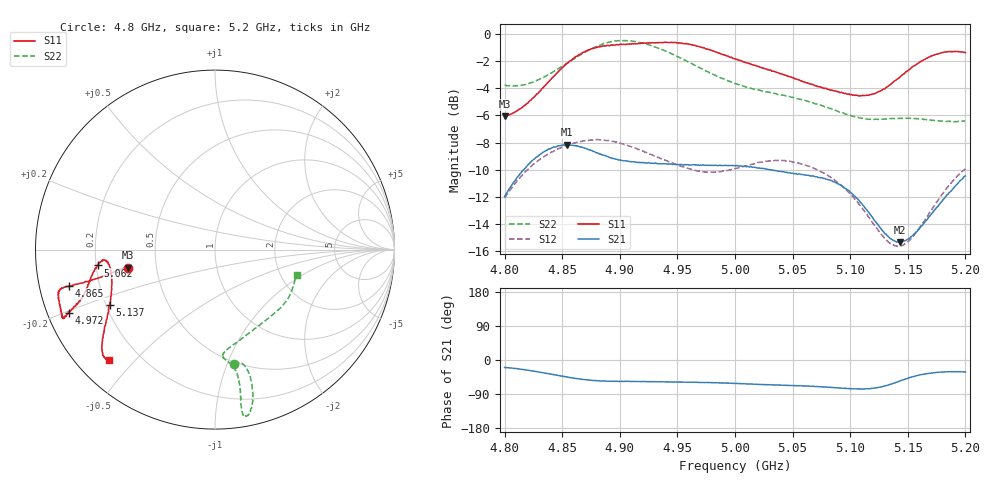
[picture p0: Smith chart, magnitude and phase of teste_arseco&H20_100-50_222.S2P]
! Network Analyzer HP8722D
! Hewlett-Packard
! Data name: Linha & Wilkinson
! Saver's name: Rodrigo Anjos
! Comments: Teste da utilização de aquisição
! continua pelo VNA HP8722D
! Time and date: 6/5/2025 14:25
!  Frequency  S11  S21  S12  S22
# HZ  S  MA R 50
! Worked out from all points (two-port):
!   401 points, 4.8 GHz to 5.2 GHz, reference 50 ohm
!   highest |S21| = -8.16 dB at 4.854 GHz (marker M1); lowest = -15.3 dB at 5.143 GHz (marker M2)
!   |S21| within 3 dB of the highest: 4.806 GHz to 5.092 GHz (286.4 MHz wide, 5.79 % of centre); 5.191528 GHz to end of sweep
!   lowest |S11| = -6.1 dB at 4.8 GHz (marker M3), VSWR 2.97, Z = 17 - j4.56 ohm
!   |S11| at or under -10 dB: nowhere
!   |S22| runs from -6.5 to -0.5 dB; largest |S21 - S12| = 0.62
!   S11 on the Smith chart (normalised r, x): 4.8 GHz: 0.34, -0.09; 4.865 GHz: 0.09, -0.12; 4.972 GHz: 0.06, -0.21; 5.062 GHz: 0.21, -0.06; 5.137 GHz: 0.22, -0.23; 5.2 GHz: 0.09, -0.42
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4.8e9  0.4967 -168.2  0.2522 -19.7  0.2492 -141.0  0.6481 -80.4
4.826e9  0.588 -167.3  0.3471 -29.9  0.3334 -144.7  0.6682 -75.6
4.854e9  0.7772 -166.0  0.3908 -45.1  0.3887 -149.9  0.7791 -74.7
4.865e9  0.8382 -166.1  0.3845 -50.0  0.4007 -151.8  0.8342 -75.3
4.867e9  0.849 -166.0  0.3836 -50.9  0.4022 -152.1  0.8433 -75.5
4.883e9  0.8966 -165.2  0.3614 -55.2  0.4077 -154.8  0.9089 -77.3
4.9e9  0.9135 -162.8  0.3434 -56.4  0.3963 -156.6  0.943 -79.1
4.934e9  0.9279 -156.7  0.333 -57.6  0.3513 -155.7  0.8825 -80.5
4.972e9  0.8886 -156.7  0.3295 -59.0  0.3115 -146.3  0.7411 -79.8
5e9  0.8101 -159.1  0.3277 -61.9  0.3195 -137.3  0.6565 -81.3
5.036e9  0.7214 -165.7  0.3137 -66.0  0.3421 -134.5  0.6023 -85.7
5.062e9  0.6597 -172.3  0.3022 -68.6  0.3278 -136.4  0.5671 -83.8
5.067e9  0.6518 -173.0  0.3004 -69.2  0.3225 -136.8  0.5581 -82.6
5.086e9  0.6169 -174.5  0.2854 -73.0  0.2912 -138.5  0.5245 -75.3
5.102e9  0.5956 -171.8  0.2573 -75.9  0.2529 -138.8  0.4976 -66.0
5.116e9  0.5941 -165.5  0.2205 -75.9  0.2121 -135.5  0.4852 -55.8
5.134e9  0.6464 -154.2  0.178 -65.1  0.1703 -120.6  0.4874 -43.3
5.137e9  0.6618 -152.5  0.1746 -62.1  0.1678 -116.8  0.4886 -41.4
5.143e9  0.6924 -149.3  0.1713 -55.7  0.1661 -108.9  0.4889 -38.1
5.154e9  0.757 -144.4  0.1812 -44.3  0.1792 -95.0  0.489 -32.4
5.174e9  0.8398 -138.5  0.2269 -33.0  0.2369 -80.3  0.4793 -23.9
5.2e9  0.8531 -133.7  0.3004 -31.5  0.3188 -77.0  0.4771 -17.5
